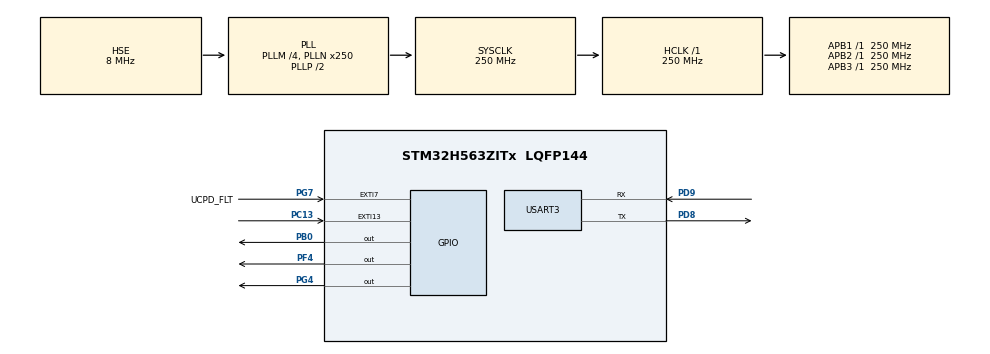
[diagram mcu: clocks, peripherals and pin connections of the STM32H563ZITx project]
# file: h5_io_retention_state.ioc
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BOOTPATH.BootPathName=LEGACY
BOOTPATH.UserSelectedBootPath=LEGACY
CORTEX_M33_NS.userName=CORTEX_M33
Mcu.Family=STM32H5
Mcu.Name=STM32H563ZITx
Mcu.Package=LQFP144
NVIC.EXTI13_IRQn=true\:0\:0\:false\:false\:true\:true\:true\:true
NVIC.PriorityGroup=NVIC_PRIORITYGROUP_4
NVIC.USART3_IRQn=true\:0\:0\:false\:false\:true\:true\:true\:true
PA1.GPIO_Label=RMII_REF_CLK
PA1.GPIO_Mode=GPIO_MODE_AF_PP
PA1.GPIO_PuPd=GPIO_NOPULL
PA1.GPIO_Speed=GPIO_SPEED_FREQ_LOW
PA1.Signal=ETH_REF_CLK
PA11.GPIO_Label=USB_FS_N
PA11.Signal=USB_DM
PA12.GPIO_Label=USB_FS_P
PA12.Signal=USB_DP
PA13(JTMS/SWDIO).GPIO_Label=SWDIO
PA13(JTMS/SWDIO).Signal=DEBUG_JTMS-SWDIO
PA14(JTCK/SWCLK).GPIO_Label=SWCLK
PA14(JTCK/SWCLK).Signal=DEBUG_JTCK-SWCLK
PA15(JTDI).GPIO_Label=T_JTDI
PA15(JTDI).Signal=DEBUG_JTDI
PA2.GPIO_Label=RMII_MDIO
PA2.GPIO_Mode=GPIO_MODE_AF_PP
PA2.GPIO_PuPd=GPIO_NOPULL
PA2.GPIO_Speed=GPIO_SPEED_FREQ_LOW
PA2.Signal=ETH_MDIO
PA4.GPIO_Label=VBUS_SENSE
PA4.Signal=ADCx_INP18
PA7.GPIO_Label=RMII_CRS_DV
PA7.GPIO_Mode=GPIO_MODE_AF_PP
PA7.GPIO_PuPd=GPIO_NOPULL
PA7.GPIO_Speed=GPIO_SPEED_FREQ_LOW
PA7.Signal=ETH_CRS_DV
PA9.GPIO_Label=UCDP_DBn
PA9.Signal=UCPD1_DB1
PB0.Signal=GPIO_Output
PB13.GPIO_Label=UCPD_CC1
PB13.Signal=UCPD1_CC1
PB14.GPIO_Label=UCPD_CC2
PB14.Signal=UCPD1_CC2
PB15.GPIO_Label=RMII_TXD1
PB15.GPIO_Mode=GPIO_MODE_AF_PP
PB15.GPIO_PuPd=GPIO_NOPULL
PB15.GPIO_Speed=GPIO_SPEED_FREQ_LOW
PB15.Signal=ETH_TXD1
PB3(JTDO/TRACESWO).GPIO_Label=SWO
PB3(JTDO/TRACESWO).Signal=DEBUG_JTDO-SWO
PB6.GPIO_Label=ARD_D1_TX
PB6.Signal=LPUART1_TX
PB7.GPIO_Label=ARD_D0_RX
PB7.Signal=LPUART1_RX
PC1.GPIO_Label=RMII_MDC
PC1.GPIO_Mode=GPIO_MODE_AF_PP
PC1.GPIO_PuPd=GPIO_NOPULL
PC1.GPIO_Speed=GPIO_SPEED_FREQ_LOW
PC1.Signal=ETH_MDC
PC13.Signal=GPXTI13
PC14-OSC32_IN(OSC32_IN).Mode=LSE-External-Oscillator
PC14-OSC32_IN(OSC32_IN).Signal=RCC_OSC32_IN
PC15-OSC32_OUT(OSC32_OUT).Mode=LSE-External-Oscillator
PC15-OSC32_OUT(OSC32_OUT).Signal=RCC_OSC32_OUT
PC4.GPIO_Label=RMII_RXD0
PC4.GPIO_Mode=GPIO_MODE_AF_PP
PC4.GPIO_PuPd=GPIO_NOPULL
PC4.GPIO_Speed=GPIO_SPEED_FREQ_LOW
PC4.Signal=ETH_RXD0
PC5.GPIO_Label=RMII_RXD1
PC5.GPIO_Mode=GPIO_MODE_AF_PP
PC5.GPIO_PuPd=GPIO_NOPULL
PC5.GPIO_Speed=GPIO_SPEED_FREQ_LOW
PC5.Signal=ETH_RXD1
PD8.Mode=Asynchronous
PD8.Signal=USART3_TX
PD9.Mode=Asynchronous
PD9.Signal=USART3_RX
PE2.GPIO_Label=TRACE_CK
PE2.Signal=DEBUG_TRACECLK
PE3.GPIO_Label=TRACE_D0
PE3.Signal=DEBUG_TRACED0
PE4.GPIO_Label=TRACE_D1
PE4.Signal=DEBUG_TRACED1
PE5.GPIO_Label=TRACE_D2
PE5.Signal=DEBUG_TRACED2
PE6.GPIO_Label=TRACE_D3
PE6.Signal=DEBUG_TRACED3
PF4.Signal=GPIO_Output
PG11.GPIO_Label=RMII_TXT_EN
PG11.GPIO_Mode=GPIO_MODE_AF_PP
PG11.GPIO_PuPd=GPIO_NOPULL
PG11.GPIO_Speed=GPIO_SPEED_FREQ_LOW
PG11.Signal=ETH_TX_EN
PG13.GPIO_Label=RMI_TXD0
PG13.GPIO_Mode=GPIO_MODE_AF_PP
PG13.GPIO_PuPd=GPIO_NOPULL
PG13.GPIO_Speed=GPIO_SPEED_FREQ_LOW
PG13.Signal=ETH_TXD0
PG4.Signal=GPIO_Output
PG7.GPIO_Label=UCPD_FLT
PG7.Signal=GPXTI7
PH0-OSC_IN(PH0).GPIO_Label=STLK_MCO
PH0-OSC_IN(PH0).Mode=HSE-External-Clock-Source
PH0-OSC_IN(PH0).Signal=RCC_OSC_IN
ProjectManager.HeapSize=0x200
ProjectManager.StackSize=0x400
ProjectManager.TargetToolchain=STM32CubeIDE
RCC.ADCFreq_Value=250000000
RCC.AHBFreq_Value=250000000
RCC.APB1Freq_Value=250000000
RCC.APB1TimFreq_Value=250000000
RCC.APB2Freq_Value=250000000
RCC.APB2TimFreq_Value=250000000
RCC.APB3Freq_Value=250000000
RCC.CSI_VALUE=4000000
RCC.CortexFreq_Value=250000000
RCC.EPOD_VALUE=8000000
RCC.HCLKFreq_Value=250000000
RCC.HSE_VALUE=8000000
RCC.HSI48_VALUE=48000000
RCC.HSIDiv=RCC_HSI_DIV1
RCC.HSI_VALUE=64000000
RCC.LSIRC_VALUE=32000
RCC.PLLM=4
RCC.PLLN=250
RCC.PLLSourceVirtual=RCC_PLL1_SOURCE_HSE
RCC.SYSCLKFreq_VALUE=250000000
RCC.SYSCLKSource=RCC_SYSCLKSOURCE_PLLCLK
RCC.USBFreq_Value=48000000
RCC.VCOOutputFreq_Value=500000000
SH.ADCx_INP18.0=ADC1_INP18
USART3.VirtualMode=VM_ASYNC
VP_BOOTPATH_VS_BOOTPATH.Mode=BP_Activate
VP_CORTEX_M33_NS_VS_Hclk.Mode=Hclk_Mode
VP_MEMORYMAP_VS_MEMORYMAP.Mode=CurAppReg
VP_PWR_VS_DBSignals.Mode=DisableDeadBatterySignals
VP_PWR_VS_LPOM.Mode=PowerOptimisation
VP_PWR_VS_SECSignals.Mode=Security/Privilege
board=NUCLEO-H563ZI

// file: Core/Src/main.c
/* USER CODE BEGIN Header */
/**
  ******************************************************************************
  * @file           : main.c
  * @brief          : Main program body
  ******************************************************************************
  * @attention
  *
  * Copyright (c) 2024 STMicroelectronics.
  * All rights reserved.
  *
  * This software is licensed under terms that can be found in the LICENSE file
  * in the root directory of this software component.
  * If no LICENSE file comes with this software, it is provided AS-IS.
  *
  ******************************************************************************
  */
/* USER CODE END Header */
#include "main.h"

/* USER CODE BEGIN Includes */
#include<stdio.h>
#include<string.h>
/* USER CODE END Includes */

/* USER CODE BEGIN PTD */
#define IORETENABLE
/* USER CODE END PTD */

UART_HandleTypeDef huart3;

void SystemClock_Config(void);
static void MX_GPIO_Init(void);
static void MX_USART3_UART_Init(void);
/* USER CODE BEGIN PFP */
int __io_putchar(int ch)
{
    HAL_UART_Transmit(&huart3, (uint8_t *)&ch, 1, 0xFFFF);
     return ch;
}
/* USER CODE END PFP */

int main(void)
{

  /* MCU Configuration--------------------------------------------------------*/

  /* Reset of all peripherals, Initializes the Flash interface and the Systick. */
  HAL_Init();

  /* Configure the system clock */
  SystemClock_Config();

  /* Initialize all configured peripherals */
  MX_GPIO_Init();
  MX_USART3_UART_Init();
  /* USER CODE BEGIN 2 */
  printf("\n\r ****************** IO RETENTION EXAMPLE *****************\n\r");
     HAL_GPIO_WritePin(GPIOB, GPIO_PIN_0, GPIO_PIN_SET);
       printf( "LD1 turned on             \r\n");
       if(READ_BIT(PWR->IORETR, PWR_IORETR_IORETEN)== PWR_IORETR_IORETEN)
       {
         printf( "IO retention bit set             \r\n");
         HAL_Delay(1000);
         HAL_PWREx_DisableStandbyIORetention();
         printf( "Disabling IO retention            \r\n");
         HAL_Delay(10);
       }
       printf( " *********************************************************\r\n");
       printf( " *********** Push user button to enter STANDBY ***********\r\n");
       printf( " *********************************************************\r\n");
       while(HAL_GPIO_ReadPin(GPIOC,GPIO_PIN_13)== GPIO_PIN_RESET)
       {
           HAL_GPIO_TogglePin(GPIOB, GPIO_PIN_0);
           HAL_Delay(100);
       }
       printf( "MCU entering STANDBY: use reset button to wake-up  \r\n");
       HAL_GPIO_WritePin(GPIOB, GPIO_PIN_0, GPIO_PIN_SET);
       #if defined(IORETENABLE)
         printf("Enabling IO retention  \r\n");
         HAL_PWREx_EnableStandbyIORetention();
       #endif

       printf( " \r\n");
       HAL_Delay(1000);
       HAL_PWR_EnterSTANDBYMode();
  /* USER CODE END 2 */

  /* Infinite loop */
  while (1)
  {

  }
}

void SystemClock_Config(void)
{
  RCC_OscInitTypeDef RCC_OscInitStruct = {0};
  RCC_ClkInitTypeDef RCC_ClkInitStruct = {0};

  /** Configure the main internal regulator output voltage
  */
  __HAL_PWR_VOLTAGESCALING_CONFIG(PWR_REGULATOR_VOLTAGE_SCALE0);

  while(!__HAL_PWR_GET_FLAG(PWR_FLAG_VOSRDY)) {}

  /** Initializes the RCC Oscillators according to the specified parameters
  * in the RCC_OscInitTypeDef structure.
  */
  RCC_OscInitStruct.OscillatorType = RCC_OSCILLATORTYPE_HSE;
  RCC_OscInitStruct.HSEState = RCC_HSE_BYPASS;
  RCC_OscInitStruct.PLL.PLLState = RCC_PLL_ON;
  RCC_OscInitStruct.PLL.PLLSource = RCC_PLL1_SOURCE_HSE;
  RCC_OscInitStruct.PLL.PLLM = 4;
  RCC_OscInitStruct.PLL.PLLN = 250;
  RCC_OscInitStruct.PLL.PLLP = 2;
  RCC_OscInitStruct.PLL.PLLQ = 2;
  RCC_OscInitStruct.PLL.PLLR = 2;
  RCC_OscInitStruct.PLL.PLLRGE = RCC_PLL1_VCIRANGE_1;
  RCC_OscInitStruct.PLL.PLLVCOSEL = RCC_PLL1_VCORANGE_WIDE;
  RCC_OscInitStruct.PLL.PLLFRACN = 0;
  if (HAL_RCC_OscConfig(&RCC_OscInitStruct) != HAL_OK)
  {
    Error_Handler();
  }

  /** Initializes the CPU, AHB and APB buses clocks
  */
  RCC_ClkInitStruct.ClockType = RCC_CLOCKTYPE_HCLK|RCC_CLOCKTYPE_SYSCLK
                              |RCC_CLOCKTYPE_PCLK1|RCC_CLOCKTYPE_PCLK2
                              |RCC_CLOCKTYPE_PCLK3;
  RCC_ClkInitStruct.SYSCLKSource = RCC_SYSCLKSOURCE_PLLCLK;
  RCC_ClkInitStruct.AHBCLKDivider = RCC_SYSCLK_DIV1;
  RCC_ClkInitStruct.APB1CLKDivider = RCC_HCLK_DIV1;
  RCC_ClkInitStruct.APB2CLKDivider = RCC_HCLK_DIV1;
  RCC_ClkInitStruct.APB3CLKDivider = RCC_HCLK_DIV1;

  if (HAL_RCC_ClockConfig(&RCC_ClkInitStruct, FLASH_LATENCY_5) != HAL_OK)
  {
    Error_Handler();
  }
}

static void MX_USART3_UART_Init(void)
{

  huart3.Instance = USART3;
  huart3.Init.BaudRate = 115200;
  huart3.Init.WordLength = UART_WORDLENGTH_8B;
  huart3.Init.StopBits = UART_STOPBITS_1;
  huart3.Init.Parity = UART_PARITY_NONE;
  huart3.Init.Mode = UART_MODE_TX_RX;
  huart3.Init.HwFlowCtl = UART_HWCONTROL_NONE;
  huart3.Init.OverSampling = UART_OVERSAMPLING_16;
  huart3.Init.OneBitSampling = UART_ONE_BIT_SAMPLE_DISABLE;
  huart3.Init.ClockPrescaler = UART_PRESCALER_DIV1;
  huart3.AdvancedInit.AdvFeatureInit = UART_ADVFEATURE_NO_INIT;
  if (HAL_UART_Init(&huart3) != HAL_OK)
  {
    Error_Handler();
  }
  if (HAL_UARTEx_SetTxFifoThreshold(&huart3, UART_TXFIFO_THRESHOLD_1_8) != HAL_OK)
  {
    Error_Handler();
  }
  if (HAL_UARTEx_SetRxFifoThreshold(&huart3, UART_RXFIFO_THRESHOLD_1_8) != HAL_OK)
  {
    Error_Handler();
  }
  if (HAL_UARTEx_DisableFifoMode(&huart3) != HAL_OK)
  {
    Error_Handler();
  }

}

static void MX_GPIO_Init(void)
{
  GPIO_InitTypeDef GPIO_InitStruct = {0};

  /* GPIO Ports Clock Enable */
  __HAL_RCC_GPIOE_CLK_ENABLE();
  __HAL_RCC_GPIOC_CLK_ENABLE();
  __HAL_RCC_GPIOF_CLK_ENABLE();
  __HAL_RCC_GPIOH_CLK_ENABLE();
  __HAL_RCC_GPIOA_CLK_ENABLE();
  __HAL_RCC_GPIOB_CLK_ENABLE();
  __HAL_RCC_GPIOD_CLK_ENABLE();
  __HAL_RCC_GPIOG_CLK_ENABLE();

  /*Configure GPIO pin Output Level */
  HAL_GPIO_WritePin(GPIOF, GPIO_PIN_4, GPIO_PIN_RESET);

  /*Configure GPIO pin Output Level */
  HAL_GPIO_WritePin(GPIOB, GPIO_PIN_0, GPIO_PIN_RESET);

  /*Configure GPIO pin Output Level */
  HAL_GPIO_WritePin(GPIOG, GPIO_PIN_4, GPIO_PIN_RESET);

  /*Configure GPIO pin : PC13 */
  GPIO_InitStruct.Pin = GPIO_PIN_13;
  GPIO_InitStruct.Mode = GPIO_MODE_IT_RISING;
  GPIO_InitStruct.Pull = GPIO_NOPULL;
  HAL_GPIO_Init(GPIOC, &GPIO_InitStruct);

  /*Configure GPIO pin : PF4 */
  GPIO_InitStruct.Pin = GPIO_PIN_4;
  GPIO_InitStruct.Mode = GPIO_MODE_OUTPUT_PP;
  GPIO_InitStruct.Pull = GPIO_NOPULL;
  GPIO_InitStruct.Speed = GPIO_SPEED_FREQ_LOW;
  HAL_GPIO_Init(GPIOF, &GPIO_InitStruct);

  /*Configure GPIO pins : RMII_MDC_Pin RMII_RXD0_Pin RMII_RXD1_Pin */
  GPIO_InitStruct.Pin = RMII_MDC_Pin|RMII_RXD0_Pin|RMII_RXD1_Pin;
  GPIO_InitStruct.Mode = GPIO_MODE_AF_PP;
  GPIO_InitStruct.Pull = GPIO_NOPULL;
  GPIO_InitStruct.Speed = GPIO_SPEED_FREQ_HIGH;
  GPIO_InitStruct.Alternate = GPIO_AF11_ETH;
  HAL_GPIO_Init(GPIOC, &GPIO_InitStruct);

  /*Configure GPIO pins : RMII_REF_CLK_Pin RMII_MDIO_Pin RMII_CRS_DV_Pin */
  GPIO_InitStruct.Pin = RMII_REF_CLK_Pin|RMII_MDIO_Pin|RMII_CRS_DV_Pin;
  GPIO_InitStruct.Mode = GPIO_MODE_AF_PP;
  GPIO_InitStruct.Pull = GPIO_NOPULL;
  GPIO_InitStruct.Speed = GPIO_SPEED_FREQ_HIGH;
  GPIO_InitStruct.Alternate = GPIO_AF11_ETH;
  HAL_GPIO_Init(GPIOA, &GPIO_InitStruct);

  /*Configure GPIO pin : VBUS_SENSE_Pin */
  GPIO_InitStruct.Pin = VBUS_SENSE_Pin;
  GPIO_InitStruct.Mode = GPIO_MODE_ANALOG;
  GPIO_InitStruct.Pull = GPIO_NOPULL;
  HAL_GPIO_Init(VBUS_SENSE_GPIO_Port, &GPIO_InitStruct);

  /*Configure GPIO pin : PB0 */
  GPIO_InitStruct.Pin = GPIO_PIN_0;
  GPIO_InitStruct.Mode = GPIO_MODE_OUTPUT_PP;
  GPIO_InitStruct.Pull = GPIO_NOPULL;
  GPIO_InitStruct.Speed = GPIO_SPEED_FREQ_LOW;
  HAL_GPIO_Init(GPIOB, &GPIO_InitStruct);

  /*Configure GPIO pins : UCPD_CC1_Pin UCPD_CC2_Pin */
  GPIO_InitStruct.Pin = UCPD_CC1_Pin|UCPD_CC2_Pin;
  GPIO_InitStruct.Mode = GPIO_MODE_ANALOG;
  GPIO_InitStruct.Pull = GPIO_NOPULL;
  HAL_GPIO_Init(GPIOB, &GPIO_InitStruct);

  /*Configure GPIO pin : RMII_TXD1_Pin */
  GPIO_InitStruct.Pin = RMII_TXD1_Pin;
  GPIO_InitStruct.Mode = GPIO_MODE_AF_PP;
  GPIO_InitStruct.Pull = GPIO_NOPULL;
  GPIO_InitStruct.Speed = GPIO_SPEED_FREQ_HIGH;
  GPIO_InitStruct.Alternate = GPIO_AF11_ETH;
  HAL_GPIO_Init(RMII_TXD1_GPIO_Port, &GPIO_InitStruct);

  /*Configure GPIO pin : PG4 */
  GPIO_InitStruct.Pin = GPIO_PIN_4;
  GPIO_InitStruct.Mode = GPIO_MODE_OUTPUT_PP;
  GPIO_InitStruct.Pull = GPIO_NOPULL;
  GPIO_InitStruct.Speed = GPIO_SPEED_FREQ_LOW;
  HAL_GPIO_Init(GPIOG, &GPIO_InitStruct);

  /*Configure GPIO pin : UCPD_FLT_Pin */
  GPIO_InitStruct.Pin = UCPD_FLT_Pin;
  GPIO_InitStruct.Mode = GPIO_MODE_IT_RISING;
  GPIO_InitStruct.Pull = GPIO_NOPULL;
  HAL_GPIO_Init(UCPD_FLT_GPIO_Port, &GPIO_InitStruct);

  /*Configure GPIO pins : USB_FS_N_Pin USB_FS_P_Pin */
  GPIO_InitStruct.Pin = USB_FS_N_Pin|USB_FS_P_Pin;
  GPIO_InitStruct.Mode = GPIO_MODE_AF_PP;
  GPIO_InitStruct.Pull = GPIO_NOPULL;
  GPIO_InitStruct.Speed = GPIO_SPEED_FREQ_LOW;
  GPIO_InitStruct.Alternate = GPIO_AF10_USB;
  HAL_GPIO_Init(GPIOA, &GPIO_InitStruct);

  /*Configure GPIO pins : RMII_TXT_EN_Pin RMI_TXD0_Pin */
  GPIO_InitStruct.Pin = RMII_TXT_EN_Pin|RMI_TXD0_Pin;
  GPIO_InitStruct.Mode = GPIO_MODE_AF_PP;
  GPIO_InitStruct.Pull = GPIO_NOPULL;
  GPIO_InitStruct.Speed = GPIO_SPEED_FREQ_HIGH;
  GPIO_InitStruct.Alternate = GPIO_AF11_ETH;
  HAL_GPIO_Init(GPIOG, &GPIO_InitStruct);

  /*Configure GPIO pins : ARD_D1_TX_Pin ARD_D0_RX_Pin */
  GPIO_InitStruct.Pin = ARD_D1_TX_Pin|ARD_D0_RX_Pin;
  GPIO_InitStruct.Mode = GPIO_MODE_AF_PP;
  GPIO_InitStruct.Pull = GPIO_NOPULL;
  GPIO_InitStruct.Speed = GPIO_SPEED_FREQ_LOW;
  GPIO_InitStruct.Alternate = GPIO_AF8_LPUART1;
  HAL_GPIO_Init(GPIOB, &GPIO_InitStruct);

  /* EXTI interrupt init*/
  HAL_NVIC_SetPriority(EXTI13_IRQn, 0, 0);
  HAL_NVIC_EnableIRQ(EXTI13_IRQn);

}

void Error_Handler(void)
{
  __disable_irq();
  while (1)
  {
  }
}
